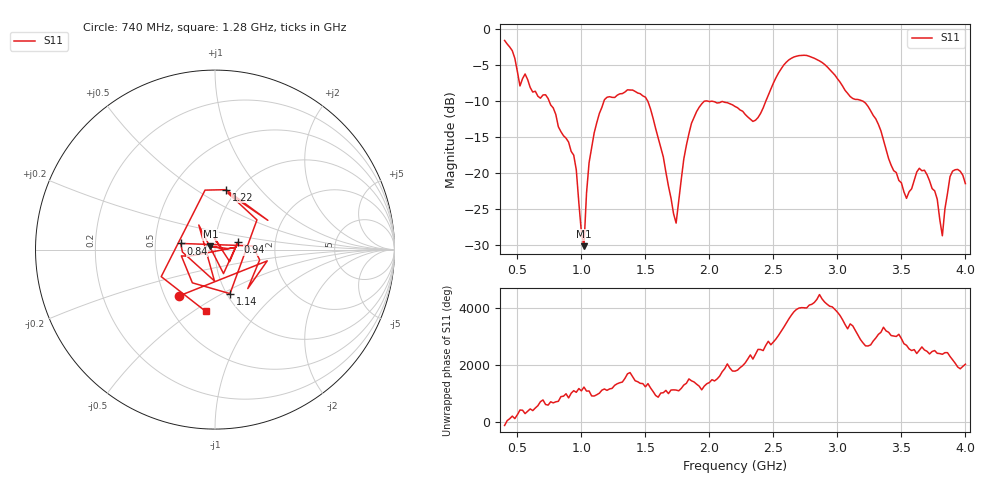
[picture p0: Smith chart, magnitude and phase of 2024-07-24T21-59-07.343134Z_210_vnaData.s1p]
!Created with skrf (http://scikit-rf.org).
# Hz S RI R 50.0
!freq ReS11 ImS11
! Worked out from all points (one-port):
!   181 points, 400 MHz to 4 GHz, reference 50 ohm
!   lowest |S11| = -30.1 dB at 1.02 GHz (marker M1), VSWR 1.06, Z = 47.5 + j1.72 ohm
!   |S11| at or under -10 dB: 1.518 GHz to 1.962 GHz (443.2 MHz wide, 25.5 % of centre); 1.988 GHz to 2.441 GHz (453 MHz wide, 20.5 % of centre); 3.199 GHz to end of sweep (the widest 3 of 4)
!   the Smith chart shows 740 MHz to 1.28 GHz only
!   S11 on the Smith chart (normalised r, x): 740 MHz: 0.59, -0.34; 840 MHz: 0.68, +0.05; 940 MHz: 1.29, +0.11; 1.14 GHz: 1.04, -0.55; 1.22 GHz: 0.89, +0.67; 1.28 GHz: 0.72, -0.56
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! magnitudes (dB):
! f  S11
! 400 MHz  -1.6
! 520 MHz  -7.9
! 740 MHz  -9.6
! 840 MHz  -14.2
! 860 MHz  -14.8
! 940 MHz  -17.5
! 1.02 GHz  -30.1
! 1.06 GHz  -18.5
! 1.14 GHz  -11.7
! 1.22 GHz  -9.4
! 1.28 GHz  -9.2
! 1.3 GHz  -9.0
! 1.52 GHz  -10.0
! 1.74 GHz  -26.9
! 1.76 GHz  -23.9
! 1.82 GHz  -16.1
! 1.92 GHz  -10.9
! 2.2 GHz  -10.7
! 2.36 GHz  -12.7
! 2.66 GHz  -3.9
! 3.1 GHz  -9.4
! 3.3 GHz  -12.5
! 3.56 GHz  -22.6
! 3.68 GHz  -19.6
! 3.78 GHz  -23.6
! 3.82 GHz  -28.7
! 3.88 GHz  -20.5
! 4 GHz  -21.5
